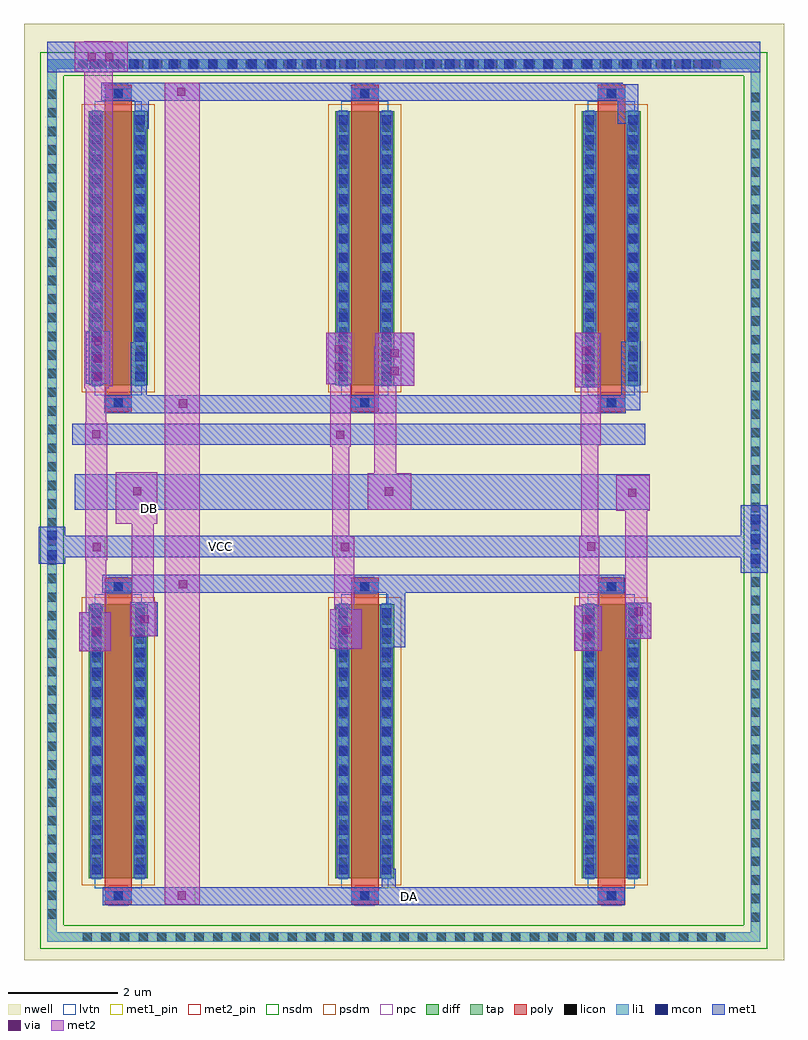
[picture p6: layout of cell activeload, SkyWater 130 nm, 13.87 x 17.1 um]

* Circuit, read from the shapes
.subckt activeload DA DB VCC
XM1 DB DA VCC VCC sky130_fd_pr__pfet_01v8_lvt w=5 l=0.5 m=3
XM2 DA DA VCC VCC sky130_fd_pr__pfet_01v8_lvt w=5 l=0.5 m=3
.ends

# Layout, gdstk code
import gdstk
lib = gdstk.Library(unit=1e-6, precision=1e-09)
def R(c, l, rs):  # rectangles x0, y0, x1, y1
    for r in rs: c.add(gdstk.rectangle(r[:2], r[2:], *l))
def A(c, l, x, y, w, h, nx, ny, dx, dy):  # array of equal rectangles
    R(c, l, [(x+i*dx, y+j*dy, x+i*dx+w, y+j*dy+h) for i in range(nx) for j in range(ny)])
nwell = (64, 20)
diff = (65, 20)
tap = (65, 44)
poly = (66, 20)
licon = (66, 44)
li1 = (67, 20)
mcon = (67, 44)
met1_pin = (68, 16)
met1 = (68, 20)
via = (68, 44)
met2_pin = (69, 16)
met2 = (69, 20)
nsdm = (93, 44)
psdm = (94, 20)
npc = (95, 20)
lvtn = (125, 44)

sky130_fd_pr__pfet_01v8_ = lib.new_cell('sky130_fd_pr__pfet_01v8_lvt_YS6JVD')
R(sky130_fd_pr__pfet_01v8_, nwell, [(-0.72,-3,0.72,3)])
R(sky130_fd_pr__pfet_01v8_, diff, [(-0.54,-2.5,0.54,2.5)])
R(sky130_fd_pr__pfet_01v8_, poly, [(-0.25,-2.985,0.25,2.985)])
A(sky130_fd_pr__pfet_01v8_, licon, -0.48, -2.295, 0.17, 0.17, 1, 14, 0, 0.34)
A(sky130_fd_pr__pfet_01v8_, licon, 0.31, -2.295, 0.17, 0.17, 1, 14, 0, 0.34)
R(sky130_fd_pr__pfet_01v8_, licon, [(-0.085,-2.905,0.085,-2.735), (-0.085,2.735,0.085,2.905)])
R(sky130_fd_pr__pfet_01v8_, li1, [(-0.25,-2.905,0.25,-2.735), (-0.48,-2.52,-0.31,2.52), (0.31,-2.52,0.48,2.52), (-0.25,2.735,0.25,2.905)])
A(sky130_fd_pr__pfet_01v8_, mcon, -0.48, -2.425, 0.17, 0.17, 1, 14, 0, 0.36)
A(sky130_fd_pr__pfet_01v8_, mcon, 0.31, -2.425, 0.17, 0.17, 1, 14, 0, 0.36)
R(sky130_fd_pr__pfet_01v8_, mcon, [(-0.085,-2.905,0.085,-2.735), (-0.085,2.735,0.085,2.905)])
R(sky130_fd_pr__pfet_01v8_, met1, [(-0.23,-2.935,0.23,-2.705), (-0.51,-2.5,-0.28,2.5), (0.28,-2.5,0.51,2.5), (-0.23,2.705,0.23,2.935)])
R(sky130_fd_pr__pfet_01v8_, psdm, [(-0.665,-2.625,0.665,2.625)])
R(sky130_fd_pr__pfet_01v8_, npc, [(-0.185,-3.005,0.185,-2.635), (-0.185,2.635,0.185,3.005)])
R(sky130_fd_pr__pfet_01v8_, lvtn, [(-0.43,-2.68,0.43,2.68)])

c_sky130_fd_pr__pfet_01v8_ = lib.new_cell('sky130_fd_pr__pfet_01v8_lvt_NFH92T')
R(c_sky130_fd_pr__pfet_01v8_, nwell, [(-0.72,-3,0.72,3)])
R(c_sky130_fd_pr__pfet_01v8_, diff, [(-0.54,-2.5,0.54,2.5)])
R(c_sky130_fd_pr__pfet_01v8_, poly, [(-0.25,-2.985,0.25,2.985)])
A(c_sky130_fd_pr__pfet_01v8_, licon, -0.48, -2.295, 0.17, 0.17, 1, 14, 0, 0.34)
A(c_sky130_fd_pr__pfet_01v8_, licon, 0.31, -2.295, 0.17, 0.17, 1, 14, 0, 0.34)
R(c_sky130_fd_pr__pfet_01v8_, licon, [(-0.085,-2.905,0.085,-2.735), (-0.085,2.735,0.085,2.905)])
R(c_sky130_fd_pr__pfet_01v8_, li1, [(-0.25,-2.905,0.25,-2.735), (-0.48,-2.52,-0.31,2.52), (0.31,-2.52,0.48,2.52), (-0.25,2.735,0.25,2.905)])
A(c_sky130_fd_pr__pfet_01v8_, mcon, -0.48, -2.425, 0.17, 0.17, 1, 14, 0, 0.36)
A(c_sky130_fd_pr__pfet_01v8_, mcon, 0.31, -2.425, 0.17, 0.17, 1, 14, 0, 0.36)
R(c_sky130_fd_pr__pfet_01v8_, mcon, [(-0.085,-2.905,0.085,-2.735), (-0.085,2.735,0.085,2.905)])
R(c_sky130_fd_pr__pfet_01v8_, met1, [(-0.23,-2.935,0.23,-2.705), (-0.51,-2.5,-0.28,2.5), (0.28,-2.5,0.51,2.5), (-0.23,2.705,0.23,2.935)])
R(c_sky130_fd_pr__pfet_01v8_, psdm, [(-0.665,-2.625,0.665,2.625)])
R(c_sky130_fd_pr__pfet_01v8_, npc, [(-0.185,-3.005,0.185,-2.635), (-0.185,2.635,0.185,3.005)])
R(c_sky130_fd_pr__pfet_01v8_, lvtn, [(-0.43,-2.68,0.43,2.68)])

activeload = lib.new_cell('activeload')
R(activeload, nwell, [(0,0,13.87,17.1)])
R(activeload, tap, [(0.42,0.34,13.44,0.52), (0.42,0.52,0.6,16.27), (13.26,0.52,13.44,16.27), (0.42,16.27,13.44,16.45)])
A(activeload, licon, 1.07, 0.345, 0.17, 0.17, 35, 1, 0.34, 0)
A(activeload, licon, 13.265, 0.705, 0.17, 0.17, 1, 45, 0, 0.34)
A(activeload, licon, 0.425, 0.765, 0.17, 0.17, 1, 45, 0, 0.34)
A(activeload, licon, 0.99, 16.275, 0.17, 0.17, 35, 1, 0.34, 0)
R(activeload, li1, [(0.42,0.34,13.44,0.52), (0.42,0.52,0.6,16.27), (13.26,0.52,13.44,16.27), (0.42,16.27,13.44,16.45)])
A(activeload, mcon, 13.265, 7.245, 0.17, 0.17, 1, 3, 0, 0.36)
A(activeload, mcon, 1.2, 16.275, 0.17, 0.17, 32, 1, 0.36, 0)
R(activeload, mcon, [(0.425,7.315,0.595,7.485), (0.425,7.675,0.595,7.845)])
R(activeload, met1_pin, [(3.12,1.01,10.96,1.34), (1.47,7.36,5.72,7.75)])
R(activeload, met1, [(1.44,1.01,10.96,1.34), (6.53,1.34,6.78,1.67), (1.01,5.64,1.58,6.36), (10.04,5.65,10.54,6.47), (5.59,5.69,6.16,6.41), (6.61,5.72,6.96,6.71), (10.98,5.87,11.45,6.53), (1.94,5.92,2.44,6.54), (1.43,6.71,10.95,7.04), (13.08,7.08,13.57,7.36), (0.27,7.24,0.75,7.36), (0.27,7.36,13.57,7.75), (0.27,7.75,0.75,7.92), (13.08,7.75,13.57,8.31), (0.93,8.23,11.42,8.87), (0.88,9.41,11.34,9.8), (1.46,9.99,10.98,10.04), (1.46,10.04,11.25,10.32), (1.95,10.32,2.24,11.28), (10.9,10.32,11.25,11.29), (10.06,10.46,10.52,11.46), (6.4,10.49,7.12,11.46), (5.52,10.52,5.99,11.46), (1.13,10.53,1.57,11.48), (2.02,15.18,2.28,15.69), (10.84,15.27,11.21,15.69), (1.41,15.69,11.21,15.99), (1.41,15.99,10.93,16.02), (0.42,16.21,13.44,16.77)])
A(activeload, via, 1.275, 10.585, 0.15, 0.15, 1, 3, 0, 0.32)
R(activeload, via, [(2.805,1.11,2.955,1.26), (10.2,5.83,10.35,5.98), (1.245,5.94,1.395,6.09), (5.795,5.96,5.945,6.11), (11.145,5.975,11.295,6.125), (10.2,6.15,10.35,6.3), (2.125,6.155,2.275,6.305), (11.145,6.295,11.295,6.445), (2.825,6.79,2.975,6.94), (1.255,7.47,1.405,7.62), (5.785,7.47,5.935,7.62), (10.275,7.48,10.425,7.63), (11.025,8.46,11.175,8.61), (6.585,8.485,6.735,8.635), (1.99,8.49,2.14,8.64), (5.695,9.52,5.845,9.67), (1.245,9.53,1.395,9.68), (2.825,10.09,2.975,10.24), (6.685,10.685,6.835,10.835), (10.19,10.73,10.34,10.88), (5.67,10.76,5.82,10.91), (6.685,11.005,6.835,11.155), (10.19,11.05,10.34,11.2), (5.67,11.08,5.82,11.23), (2.795,15.78,2.945,15.93), (1.16,16.415,1.31,16.565), (1.48,16.415,1.63,16.565)])
R(activeload, met2_pin, [(2.25,8.23,2.32,8.25)])
R(activeload, met2, [(2.57,1.02,3.21,16.02), (1.01,5.64,1.58,6.36), (10.04,5.65,10.54,6.47), (5.66,5.68,6.03,5.69), (5.59,5.69,6.16,6.41), (10.98,5.87,11.45,5.89), (10.97,5.89,11.45,6.53), (1.94,5.92,2.41,6.55), (1.13,6.36,1.5,7.3), (5.66,6.41,6.03,7.39), (10.13,6.47,10.5,7.74), (10.97,6.53,11.37,8.21), (1.97,6.55,2.37,7.97), (1.12,7.3,1.52,9.82), (5.63,7.39,6.03,7.74), (5.63,7.74,5.94,9.38), (10.17,7.74,10.48,9.4), (1.67,7.97,2.43,8.91), (10.81,8.21,11.42,8.86), (6.27,8.23,7.07,8.89), (6.39,8.89,6.79,10.49), (5.59,9.38,5.96,10.52), (10.16,9.4,10.53,10.46), (1.13,9.82,1.5,10.44), (1.1,10.44,1.55,10.48), (10.06,10.46,10.53,11.46), (1.1,10.48,1.62,16.22), (6.39,10.49,7.12,11.21), (5.52,10.52,5.99,11.46), (6.4,11.21,7.12,11.46), (0.93,16.22,1.89,16.77), (1.1,16.77,1.62,16.78)])
R(activeload, nsdm, [(0.295,0.215,13.565,0.645), (0.295,0.645,0.725,16.145), (13.135,0.645,13.565,16.145), (0.295,16.145,13.565,16.575)])
activeload.add(gdstk.Reference(sky130_fd_pr__pfet_01v8_, (10.72,4)))
activeload.add(gdstk.Reference(sky130_fd_pr__pfet_01v8_, (6.22,4)))
activeload.add(gdstk.Reference(sky130_fd_pr__pfet_01v8_, (1.72,4)))
activeload.add(gdstk.Reference(sky130_fd_pr__pfet_01v8_, (1.72,13)))
activeload.add(gdstk.Reference(sky130_fd_pr__pfet_01v8_, (10.72,13)))
activeload.add(gdstk.Reference(c_sky130_fd_pr__pfet_01v8_, (6.22,13)))
activeload.add(gdstk.Label('DB', (2.285,8.24), layer=69, texttype=5))
activeload.add(gdstk.Label('DA', (7.04,1.175), layer=68, texttype=5))
activeload.add(gdstk.Label('VCC', (3.595,7.555), layer=68, texttype=5))

lib.write_gds('activeload.gds')
